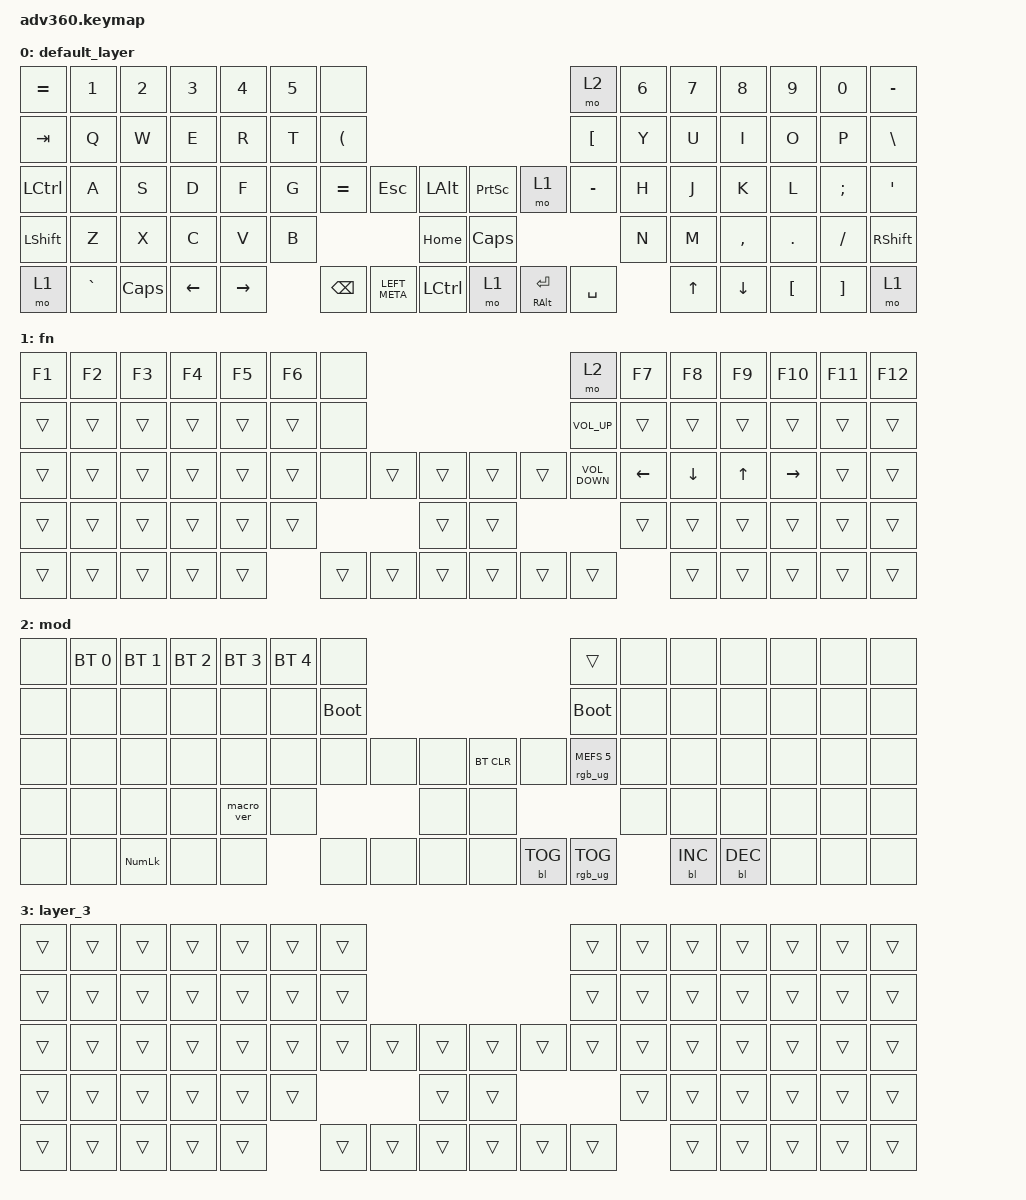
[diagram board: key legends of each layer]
#include <behaviors.dtsi>
#include <dt-bindings/zmk/backlight.h>
#include <dt-bindings/zmk/bt.h>
#include <dt-bindings/zmk/keys.h>
#include <dt-bindings/zmk/rgb.h>

/ {
    behaviors {
        #include "macros.dtsi"
      #include "version.dtsi"
      #ifndef VERSION_MACRO

        macro_ver: macro_ver {
            compatible = "zmk,behavior-macro";
            label = "macro_version";
            #binding-cells = <0>;
            bindings = <&kp RET>;
        };

        #endif

        hm: homerow_mods {
            compatible = "zmk,behavior-hold-tap";
            label = "HOMEROW_MODS";
            #binding-cells = <2>;
            tapping-term-ms = <200>;
            quick_tap_ms = <175>;
            flavor = "tap-preferred";
            bindings = <&kp>, <&kp>;
        };
    };

    macros {
    };

    keymap {
        compatible = "zmk,keymap";

        default_layer {
            bindings = <
&kp EQUAL  &kp N1     &kp N2    &kp N3    &kp N4     &kp N5  &none                                                                                      &mo 2             &kp N6  &kp N7  &kp N8     &kp N9    &kp N0    &kp MINUS
&kp TAB    &kp Q      &kp W     &kp E     &kp R      &kp T   &kp LEFT_PARENTHESIS                                                                       &kp LEFT_BRACKET  &kp Y   &kp U   &kp I      &kp O     &kp P     &kp BSLH
&kp LCTRL  &kp A      &kp S     &kp D     &kp F      &kp G   &kp EQUAL             &kp ESCAPE     &kp LALT       &kp PRINTSCREEN  &mo 1                 &kp MINUS         &kp H   &kp J   &kp K      &kp L     &kp SEMI  &kp SQT
&kp LSHFT  &kp Z      &kp X     &kp C     &kp V      &kp B                                        &kp HOME       &kp CAPSLOCK                                             &kp N   &kp M   &kp COMMA  &kp DOT   &kp FSLH  &kp RSHFT
&mo 1      &kp GRAVE  &kp CAPS  &kp LEFT  &kp RIGHT          &kp BSPC              &kp LEFT_META  &kp LCTRL      &mo 1            &mt RIGHT_ALT RETURN  &kp SPACE                 &kp UP  &kp DOWN   &kp LBKT  &kp RBKT  &mo 1
            >;
        };

        fn {
            bindings = <
&kp F1  &kp F2  &kp F3  &kp F4  &kp F5  &kp F6  &none                                       &mo 2              &kp F7          &kp F8          &kp F9        &kp F10          &kp F11  &kp F12
&trans  &trans  &trans  &trans  &trans  &trans  &none                                       &kp C_VOLUME_UP    &trans          &trans          &trans        &trans           &trans   &trans
&trans  &trans  &trans  &trans  &trans  &trans  &none   &trans  &trans      &trans  &trans  &kp C_VOLUME_DOWN  &kp LEFT_ARROW  &kp DOWN_ARROW  &kp UP_ARROW  &kp RIGHT_ARROW  &trans   &trans
&trans  &trans  &trans  &trans  &trans  &trans                  &trans      &trans                             &trans          &trans          &trans        &trans           &trans   &trans
&trans  &trans  &trans  &trans  &trans          &trans  &trans  &trans      &trans  &trans  &trans                             &trans          &trans        &trans           &trans   &trans
            >;
        };

        mod {
            bindings = <
&none  &bt BT_SEL 0  &bt BT_SEL 1    &bt BT_SEL 2  &bt BT_SEL 3  &bt BT_SEL 4  &none                                                  &trans                  &none  &none       &none       &none  &none  &none
&none  &none         &none           &none         &none         &none         &bootloader                                            &bootloader             &none  &none       &none       &none  &none  &none
&none  &none         &none           &none         &none         &none         &none        &none  &none      &bt BT_CLR  &none       &rgb_ug RGB_MEFS_CMD 5  &none  &none       &none       &none  &none  &none
&none  &none         &none           &none         &macro_ver    &none                             &none      &none                                           &none  &none       &none       &none  &none  &none
&none  &none         &kp KP_NUMLOCK  &none         &none                       &none        &none  &none      &none       &bl BL_TOG  &rgb_ug RGB_TOG                &bl BL_INC  &bl BL_DEC  &none  &none  &none
            >;
        };

        layer_3 {
            bindings = <
&trans  &trans  &trans  &trans  &trans  &trans  &trans                                      &trans  &trans  &trans  &trans  &trans  &trans  &trans
&trans  &trans  &trans  &trans  &trans  &trans  &trans                                      &trans  &trans  &trans  &trans  &trans  &trans  &trans
&trans  &trans  &trans  &trans  &trans  &trans  &trans  &trans  &trans      &trans  &trans  &trans  &trans  &trans  &trans  &trans  &trans  &trans
&trans  &trans  &trans  &trans  &trans  &trans                  &trans      &trans                  &trans  &trans  &trans  &trans  &trans  &trans
&trans  &trans  &trans  &trans  &trans          &trans  &trans  &trans      &trans  &trans  &trans          &trans  &trans  &trans  &trans  &trans
            >;
        };
    };
};
